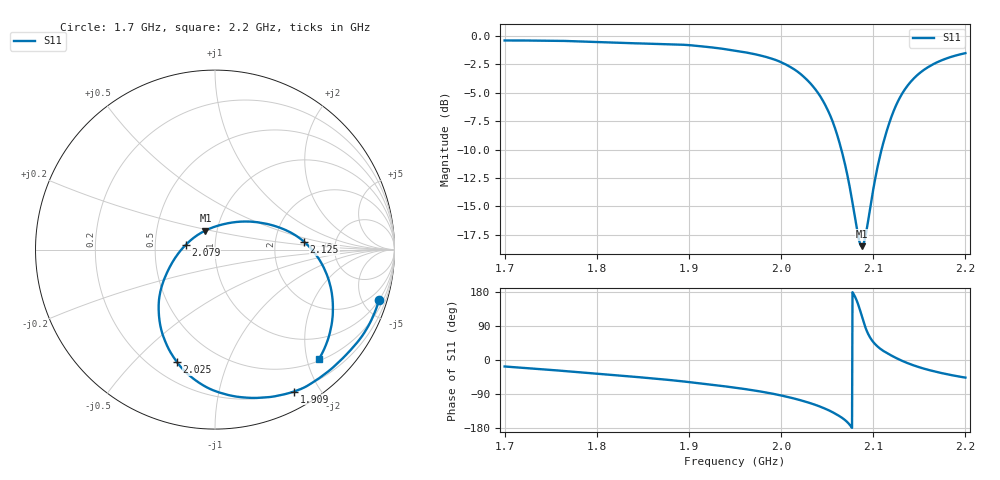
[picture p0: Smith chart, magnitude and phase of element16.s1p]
# Hz S RI R 50
! CMT, CMT808U, 21440046, 21.4.3/4
! Date: 12/1/2025 1:56:23 PM
! Data: Format (Calibration Info)
! Freq	S11:Re/Im(F2)
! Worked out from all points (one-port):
!   1001 points, 1.7 GHz to 2.2 GHz, reference 50 ohm
!   lowest |S11| = -18.5 dB at 2.087 GHz (marker M1), VSWR 1.27, Z = 44 + j9.49 ohm
!   |S11| at or under -10 dB: 2.065 GHz to 2.109 GHz (43.57 MHz wide, 2.09 % of centre)
!   S11 on the Smith chart (normalised r, x): 1.7 GHz: 0.98, -6.50; 1.909 GHz: 0.19, -1.69; 2.025 GHz: 0.30, -0.68; 2.079 GHz: 0.72, +0.04; 2.125 GHz: 2.94, +0.34; 2.2 GHz: 0.53, -2.22
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1.7e9  0.9144 -0.2815
1.7625e9  0.8363 -0.4562
1.825e9  0.7036 -0.6133
1.8875e9  0.5286 -0.7503
1.9095e9  0.4407 -0.7906
1.95e9  0.2533 -0.8254
1.9865e9  0.0431 -0.8021
1.9995e9  -0.0447 -0.7679
2.0125e9  -0.1333 -0.7089
2.0245e9  -0.2108 -0.6283
2.0415e9  -0.2939 -0.4665
2.054e9  -0.3138 -0.3091
2.065e9  -0.28 -0.1571
2.075e9  -0.2091 -0.0277
2.0795e9  -0.1624 0.0271
2.084e9  -0.1049 0.076
2.0875e9  -0.0532 0.1064
2.0895e9  -0.0223 0.12
2.092e9  0.0169 0.1335
2.099e9  0.1268 0.1546
2.1055e9  0.2282 0.1533
2.1145e9  0.3604 0.1223
2.125e9  0.4961 0.0437
2.1375e9  0.6004 -0.0894
2.149e9  0.6455 -0.2141
2.163e9  0.6565 -0.3499
2.182e9  0.6293 -0.5005
2.2e9  0.5793 -0.6099
